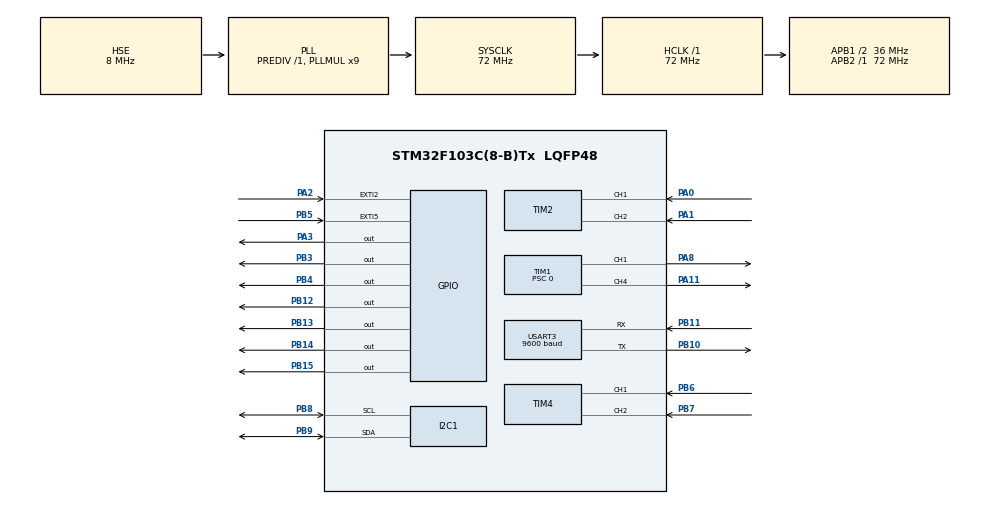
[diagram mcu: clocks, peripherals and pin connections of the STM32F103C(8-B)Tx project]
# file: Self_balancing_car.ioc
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Mcu.Family=STM32F1
Mcu.Name=STM32F103C(8-B)Tx
Mcu.Package=LQFP48
NVIC.EXTI2_IRQn=true\:0\:0\:false\:false\:true\:true\:true\:true
NVIC.EXTI9_5_IRQn=true\:0\:0\:false\:false\:true\:true\:true\:true
NVIC.PriorityGroup=NVIC_PRIORITYGROUP_4
NVIC.USART3_IRQn=true\:0\:0\:false\:false\:true\:true\:true\:true
PA0-WKUP.Signal=S_TIM2_CH1_ETR
PA1.Signal=S_TIM2_CH2
PA11.Signal=S_TIM1_CH4
PA13.Mode=Serial_Wire
PA13.Signal=SYS_JTMS-SWDIO
PA14.Mode=Serial_Wire
PA14.Signal=SYS_JTCK-SWCLK
PA2.GPIO_ModeDefaultEXTI=GPIO_MODE_IT_RISING_FALLING
PA2.Signal=GPXTI2
PA3.GPIO_Speed=GPIO_SPEED_FREQ_HIGH
PA3.Signal=GPIO_Output
PA8.Signal=S_TIM1_CH1
PB10.Mode=Asynchronous
PB10.Signal=USART3_TX
PB11.Mode=Asynchronous
PB11.Signal=USART3_RX
PB12.Signal=GPIO_Output
PB13.Signal=GPIO_Output
PB14.Signal=GPIO_Output
PB15.Signal=GPIO_Output
PB3.GPIO_ModeDefaultOutputPP=GPIO_MODE_OUTPUT_OD
PB3.GPIO_PuPd=GPIO_NOPULL
PB3.PinState=GPIO_PIN_SET
PB3.Signal=GPIO_Output
PB4.GPIO_ModeDefaultOutputPP=GPIO_MODE_OUTPUT_OD
PB4.GPIO_PuPd=GPIO_NOPULL
PB4.Signal=GPIO_Output
PB5.GPIO_ModeDefaultEXTI=GPIO_MODE_IT_FALLING
PB5.GPIO_PuPd=GPIO_PULLUP
PB5.Signal=GPXTI5
PB6.Signal=S_TIM4_CH1
PB7.Signal=S_TIM4_CH2
PB8.Mode=I2C
PB8.Signal=I2C1_SCL
PB9.Mode=I2C
PB9.Signal=I2C1_SDA
PC14-OSC32_IN.Mode=LSE-External-Oscillator
PC14-OSC32_IN.Signal=RCC_OSC32_IN
PC15-OSC32_OUT.Mode=LSE-External-Oscillator
PC15-OSC32_OUT.Signal=RCC_OSC32_OUT
PD0-OSC_IN.Mode=HSE-External-Oscillator
PD0-OSC_IN.Signal=RCC_OSC_IN
PD1-OSC_OUT.Mode=HSE-External-Oscillator
PD1-OSC_OUT.Signal=RCC_OSC_OUT
ProjectManager.HeapSize=0x200
ProjectManager.StackSize=0x400
ProjectManager.TargetToolchain=MDK-ARM V5.32
RCC.AHBFreq_Value=72000000
RCC.APB1CLKDivider=RCC_HCLK_DIV2
RCC.APB1Freq_Value=36000000
RCC.APB1TimFreq_Value=72000000
RCC.APB2Freq_Value=72000000
RCC.APB2TimFreq_Value=72000000
RCC.HCLKFreq_Value=72000000
RCC.PLLMUL=RCC_PLL_MUL9
RCC.PLLSourceVirtual=RCC_PLLSOURCE_HSE
RCC.SYSCLKFreq_VALUE=72000000
RCC.SYSCLKSource=RCC_SYSCLKSOURCE_PLLCLK
RCC.USBFreq_Value=72000000
SH.S_TIM1_CH1.0=TIM1_CH1,PWM Generation1 CH1
SH.S_TIM1_CH4.0=TIM1_CH4,PWM Generation4 CH4
SH.S_TIM2_CH1_ETR.0=TIM2_CH1,Encoder_Interface
SH.S_TIM2_CH2.0=TIM2_CH2,Encoder_Interface
SH.S_TIM4_CH1.0=TIM4_CH1,Encoder_Interface
SH.S_TIM4_CH2.0=TIM4_CH2,Encoder_Interface
TIM1.AutoReloadPreload=TIM_AUTORELOAD_PRELOAD_ENABLE
TIM1.Channel-PWM\ Generation1\ CH1=TIM_CHANNEL_1
TIM1.Channel-PWM\ Generation4\ CH4=TIM_CHANNEL_4
TIM1.Period=7199
TIM1.Prescaler=0
TIM1.Pulse-PWM\ Generation1\ CH1=7200
TIM1.Pulse-PWM\ Generation4\ CH4=7200
TIM2.EncoderMode=TIM_ENCODERMODE_TI12
TIM3.AutoReloadPreload=TIM_AUTORELOAD_PRELOAD_ENABLE
TIM3.Prescaler=71
TIM4.EncoderMode=TIM_ENCODERMODE_TI12
USART3.BaudRate=9600
USART3.VirtualMode=VM_ASYNC
VP_TIM3_VS_ClockSourceINT.Mode=Internal
board=custom

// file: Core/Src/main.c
/* USER CODE BEGIN Header */
/**
  ******************************************************************************
  * @file           : main.c
  * @brief          : Main program body
  ******************************************************************************
  * @attention
  *
  * Copyright (c) 2026 STMicroelectronics.
  * All rights reserved.
  *
  * This software is licensed under terms that can be found in the LICENSE file
  * in the root directory of this software component.
  * If no LICENSE file comes with this software, it is provided AS-IS.
  *
  ******************************************************************************
  */
/* USER CODE END Header */
#include "main.h"
#include "i2c.h"
#include "tim.h"
#include "usart.h"
#include "gpio.h"

/* USER CODE BEGIN Includes */
#include "oled.h"
#include "IIC.h"
#include "encoder.h"
#include "inv_mpu.h"
#include "inv_mpu_dmp_motion_driver.h"
#include "mpu6050.h"
#include "motor.h"
#include "stdio.h"
#include "HC_sr04.h"
/* USER CODE END Includes */

/* USER CODE BEGIN PV */
uint8_t display_buf[20];
extern uint8_t rx_buf[2];
extern int Encoder_L,Encoder_R;
extern float pitch,roll,yaw;
extern float distance;
/* USER CODE END PV */

void SystemClock_Config(void);

int main(void)
{

  /* MCU Configuration--------------------------------------------------------*/

  /* Reset of all peripherals, Initializes the Flash interface and the Systick. */
  HAL_Init();

  /* Configure the system clock */
  SystemClock_Config();

  /* Initialize all configured peripherals */
  MX_GPIO_Init();
  MX_I2C1_Init();
  MX_TIM3_Init();
  MX_TIM1_Init();
  MX_TIM2_Init();
  MX_TIM4_Init();
  MX_USART3_UART_Init();
  /* USER CODE BEGIN 2 */
	OLED_Init();
	OLED_Clear();
	MPU_Init();
	mpu_dmp_init();
	OLED_ShowString(0,0,"Init Success",16);
	//初始化结束再开中断5（调用control函数），不然测得的数据是乱的
  HAL_NVIC_SetPriority(EXTI9_5_IRQn, 0, 0);
  HAL_NVIC_EnableIRQ(EXTI9_5_IRQn);

	HAL_TIM_PWM_Start(&htim1,TIM_CHANNEL_1);
	HAL_TIM_PWM_Start(&htim1,TIM_CHANNEL_4);

	HAL_TIM_Encoder_Start(&htim2,TIM_CHANNEL_ALL);
	HAL_TIM_Encoder_Start(&htim4,TIM_CHANNEL_ALL);

	HAL_UART_Receive_IT(&huart3,rx_buf,1);

	Motor_Set(0,0);

	OLED_Clear();
  /* USER CODE END 2 */

  /* Infinite loop */
  /* USER CODE BEGIN WHILE */
  while (1)
  {
		sprintf((char *)display_buf,"Encoder_L:%d",Encoder_L);
		OLED_ShowString(0,0,display_buf,16);
		sprintf((char *)display_buf,"Encoder_R:%d",Encoder_R);
		OLED_ShowString(0,2,display_buf,16);
		sprintf((char *)display_buf,"roll:%.2f   ",roll);
		OLED_ShowString(0,4,display_buf,16);
		Send_Trig();
		sprintf((char *)display_buf,"distance:%.2f  ",distance);
		OLED_ShowString(0,6,display_buf,12);
		HAL_Delay(100);
    /* USER CODE END WHILE */

  }
}

void SystemClock_Config(void)
{
  RCC_OscInitTypeDef RCC_OscInitStruct = {0};
  RCC_ClkInitTypeDef RCC_ClkInitStruct = {0};

  /** Initializes the RCC Oscillators according to the specified parameters
  * in the RCC_OscInitTypeDef structure.
  */
  RCC_OscInitStruct.OscillatorType = RCC_OSCILLATORTYPE_HSE;
  RCC_OscInitStruct.HSEState = RCC_HSE_ON;
  RCC_OscInitStruct.HSEPredivValue = RCC_HSE_PREDIV_DIV1;
  RCC_OscInitStruct.HSIState = RCC_HSI_ON;
  RCC_OscInitStruct.PLL.PLLState = RCC_PLL_ON;
  RCC_OscInitStruct.PLL.PLLSource = RCC_PLLSOURCE_HSE;
  RCC_OscInitStruct.PLL.PLLMUL = RCC_PLL_MUL9;
  if (HAL_RCC_OscConfig(&RCC_OscInitStruct) != HAL_OK)
  {
    Error_Handler();
  }

  /** Initializes the CPU, AHB and APB buses clocks
  */
  RCC_ClkInitStruct.ClockType = RCC_CLOCKTYPE_HCLK|RCC_CLOCKTYPE_SYSCLK
                              |RCC_CLOCKTYPE_PCLK1|RCC_CLOCKTYPE_PCLK2;
  RCC_ClkInitStruct.SYSCLKSource = RCC_SYSCLKSOURCE_PLLCLK;
  RCC_ClkInitStruct.AHBCLKDivider = RCC_SYSCLK_DIV1;
  RCC_ClkInitStruct.APB1CLKDivider = RCC_HCLK_DIV2;
  RCC_ClkInitStruct.APB2CLKDivider = RCC_HCLK_DIV1;

  if (HAL_RCC_ClockConfig(&RCC_ClkInitStruct, FLASH_LATENCY_2) != HAL_OK)
  {
    Error_Handler();
  }
}

void Error_Handler(void)
{
  __disable_irq();
  while (1)
  {
  }
}
